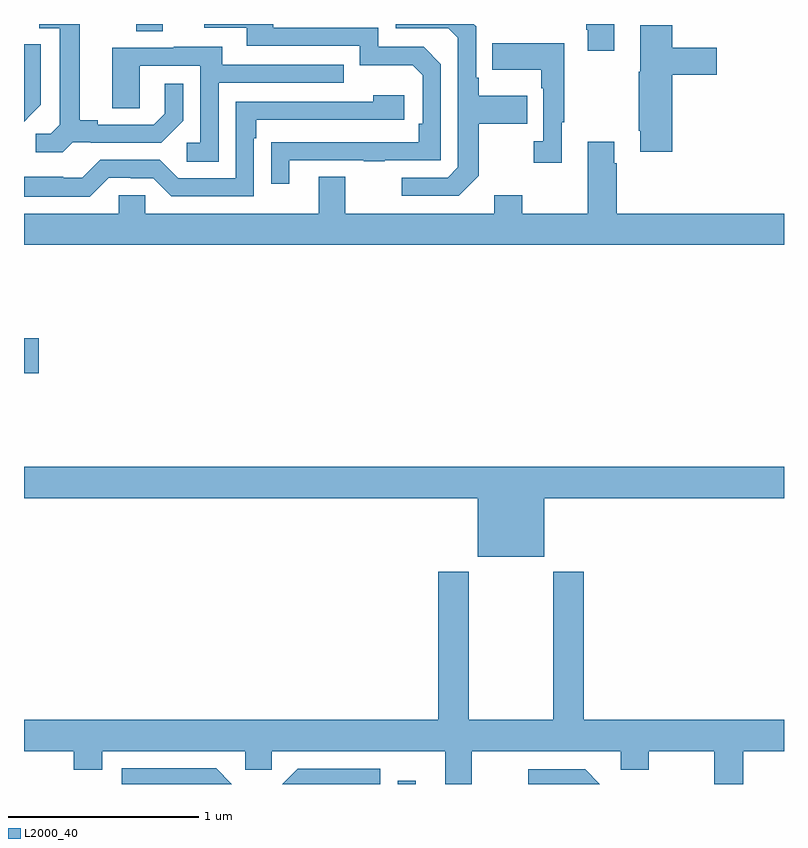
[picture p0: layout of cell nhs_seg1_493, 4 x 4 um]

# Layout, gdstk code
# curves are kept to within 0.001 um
import gdstk
lib = gdstk.Library(unit=1e-6, precision=1e-09)
def R(c, l, rs):  # rectangles x0, y0, x1, y1
    for r in rs: c.add(gdstk.rectangle(r[:2], r[2:], *l))
def P(c, l, *ps):  # polygons
    for p in ps: c.add(gdstk.Polygon(p, *l))
L2000_40 = (2000, 40)

nhs_seg1_493 = lib.new_cell('nhs_seg1_493')
R(nhs_seg1_493, L2000_40, [(138.967,578.199,139.063,578.215), (137,580.361,137.077,580.544), (137.591,582.16,137.731,582.199)])
P(nhs_seg1_493, L2000_40, [(140.107,582.199),(139.96,582.199),(139.96,582.169),(139.967,582.169),(139.967,582.057),(140.107,582.057)],
  [(139.393,581.401),(139.393,581.674),(139.649,581.674),(139.649,581.821),(139.393,581.821),(139.393,581.917),(139.38,581.917),(139.38,582.186),(139.367,582.199),(138.957,582.199),(138.957,582.177),(139.233,582.177),(139.284,582.126),(139.284,581.445),(139.23,581.391),(138.987,581.391),(138.987,581.295),(139.287,581.295)],
  [(137.256,581.577),(137.35,581.577),(137.35,581.574),(137.722,581.574),(137.838,581.69),(137.838,581.884),(137.741,581.884),(137.741,581.727),(137.684,581.67),(137.389,581.67),(137.389,581.693),(137.293,581.693),(137.293,582.199),(137.079,582.199),(137.079,582.177),(137.189,582.177),(137.189,581.669),(137.142,581.622),(137.061,581.622),(137.061,581.525),(137.204,581.525)],
  [(138.397,581.481),(138.787,581.481),(138.787,581.476),(138.899,581.476),(138.899,581.481),(139.194,581.481),(139.194,581.988),(139.104,582.078),(138.864,582.078),(138.864,582.18),(138.313,582.18),(138.313,582.199),(137.949,582.199),(137.949,582.18),(138.173,582.18),(138.173,582.084),(138.768,582.084),(138.768,581.981),(139.045,581.981),(139.098,581.928),(139.098,581.674),(139.078,581.674),(139.078,581.577),(138.301,581.576),(138.301,581.358),(138.397,581.358)],
  [(140.411,581.933),(140.647,581.933),(140.647,582.075),(140.411,582.075),(140.411,582.193),(140.243,582.193),(140.243,581.949),(140.236,581.949),(140.236,581.638),(140.243,581.638),(140.243,581.526),(140.411,581.526)],
  [(139.831,581.681),(139.843,581.681),(139.843,582.097),(139.465,582.097),(139.465,581.957),(139.722,581.957),(139.722,581.861),(139.734,581.861),(139.734,581.582),(139.683,581.582),(139.683,581.469),(139.831,581.469)],
  [(137.016,581.7),(137.015,581.701),(137.088,581.774),(137.088,582.092),(137,582.092),(137,581.684)],
  [(138.024,581.889),(138.683,581.889),(138.683,581.985),(138.043,581.985),(138.043,582.079),(137.789,582.079),(137.789,582.075),(137.465,582.075),(137.465,581.755),(137.61,581.755),(137.61,581.979),(137.928,581.979),(137.928,581.574),(137.856,581.574),(137.856,581.473),(138.024,581.473)],
  [(137.445,581.391),(137.561,581.391),(137.561,581.388),(137.679,581.388),(137.775,581.292),(138.21,581.292),(138.21,581.597),(138.223,581.597),(138.223,581.694),(139,581.694),(139,581.824),(138.839,581.824),(138.839,581.79),(138.114,581.79),(138.114,581.388),(137.811,581.388),(137.715,581.484),(137.4,581.484),(137.307,581.391),(137.207,581.391),(137.207,581.395),(137,581.395),(137,581.291),(137.345,581.291)],
  [(140.107,581.465),(140.107,581.578),(139.967,581.578),(139.967,581.2),(139.623,581.2),(139.623,581.299),(139.475,581.299),(139.475,581.2),(138.691,581.2),(138.691,581.395),(138.551,581.395),(138.551,581.2),(137.637,581.2),(137.637,581.298),(137.499,581.298),(137.499,581.2),(137,581.2),(137,581.036),(141,581.036),(141,581.2),(140.12,581.2),(140.12,581.465)],
  [(139.738,579.704),(141,579.704),(141,579.868),(137,579.868),(137,579.704),(139.388,579.704),(139.388,579.395),(139.738,579.395)],
  [(139.357,578.372),(140.141,578.372),(140.141,578.273),(140.289,578.273),(140.289,578.372),(140.633,578.372),(140.633,578.199),(140.786,578.199),(140.786,578.372),(141,578.372),(141,578.536),(139.946,578.536),(139.946,579.316),(139.786,579.316),(139.786,578.536),(139.341,578.536),(139.341,579.316),(139.181,579.316),(139.181,578.536),(137,578.536),(137,578.372),(137.261,578.372),(137.261,578.273),(137.413,578.273),(137.413,578.372),(138.165,578.372),(138.165,578.274),(138.303,578.274),(138.303,578.372),(139.217,578.372),(139.217,578.199),(139.357,578.199)],
  [(138.011,578.281),(137.514,578.281),(137.514,578.199),(138.093,578.199)],
  [(138.876,578.28),(138.441,578.28),(138.36,578.199),(138.876,578.199)],
  [(139.953,578.277),(139.653,578.277),(139.653,578.199),(140.031,578.199)])

lib.write_gds('nhs_seg1_493.gds')
